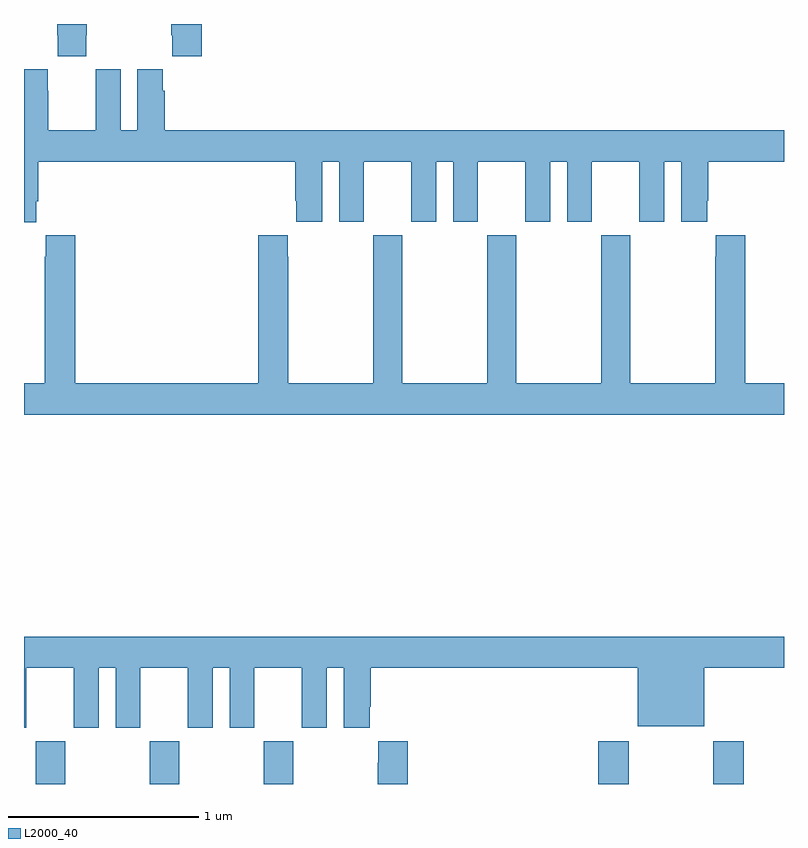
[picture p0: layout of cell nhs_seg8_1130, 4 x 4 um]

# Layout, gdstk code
import gdstk
lib = gdstk.Library(unit=1e-6, precision=1e-09)
def R(c, l, rs):  # rectangles x0, y0, x1, y1
    for r in rs: c.add(gdstk.rectangle(r[:2], r[2:], *l))
def A(c, l, x, y, w, h, nx, ny, dx, dy):  # array of equal rectangles
    R(c, l, [(x+i*dx, y+j*dy, x+i*dx+w, y+j*dy+h) for i in range(nx) for j in range(ny)])
def P(c, l, *ps):  # polygons
    for p in ps: c.add(gdstk.Polygon(p, *l))
L2000_40 = (2000, 40)

nhs_seg8_1130 = lib.new_cell('nhs_seg8_1130')
A(nhs_seg8_1130, L2000_40, 183.061, 1103.9, 0.155, 0.224, 3, 1, 0.6, 0)
R(nhs_seg8_1130, L2000_40, [(186.023,1103.9,186.183,1104.124), (186.628,1103.9,186.788,1104.124)])
P(nhs_seg8_1130, L2000_40, [(183.935,1107.9),(183.775,1107.9),(183.775,1107.841),(183.781,1107.841),(183.781,1107.729),(183.935,1107.729)],
  [(183.327,1107.841),(183.33,1107.841),(183.33,1107.9),(183.175,1107.9),(183.175,1107.841),(183.177,1107.841),(183.177,1107.729),(183.327,1107.729)],
  [(183.064,1106.968),(183.074,1106.968),(183.074,1107.176),(184.427,1107.176),(184.427,1106.971),(184.433,1106.971),(184.433,1106.859),(184.57,1106.859),(184.57,1107.176),(184.658,1107.176),(184.658,1106.859),(184.789,1106.859),(184.789,1107.176),(185.039,1107.176),(185.039,1106.859),(185.17,1106.859),(185.17,1107.176),(185.258,1107.176),(185.258,1106.859),(185.389,1106.859),(185.389,1107.176),(185.639,1107.176),(185.639,1106.859),(185.77,1106.859),(185.77,1107.176),(185.858,1107.176),(185.858,1106.859),(185.989,1106.859),(185.989,1107.176),(186.239,1107.176),(186.239,1106.859),(186.37,1106.859),(186.37,1107.176),(186.458,1107.176),(186.458,1106.859),(186.595,1106.859),(186.595,1106.971),(186.602,1106.971),(186.602,1107.176),(187,1107.176),(187,1107.34),(183.74,1107.34),(183.74,1107.548),(183.73,1107.548),(183.73,1107.661),(183.596,1107.661),(183.596,1107.34),(183.508,1107.34),(183.508,1107.661),(183.378,1107.661),(183.378,1107.548),(183.377,1107.548),(183.377,1107.34),(183.127,1107.34),(183.127,1107.548),(183.126,1107.548),(183.126,1107.661),(183,1107.661),(183,1106.856),(183.064,1106.856)],
  [(187,1106.008),(186.797,1106.008),(186.797,1106.788),(186.641,1106.788),(186.641,1106.675),(186.637,1106.675),(186.637,1106.008),(186.192,1106.008),(186.192,1106.788),(186.037,1106.788),(186.037,1106.008),(185.592,1106.008),(185.592,1106.788),(185.437,1106.788),(185.437,1106.008),(184.992,1106.008),(184.992,1106.788),(184.837,1106.788),(184.837,1106.008),(184.392,1106.008),(184.392,1106.675),(184.387,1106.675),(184.387,1106.788),(184.232,1106.788),(184.232,1106.008),(183.269,1106.008),(183.269,1106.788),(183.115,1106.788),(183.115,1106.675),(183.109,1106.675),(183.109,1106.008),(183,1106.008),(183,1105.844),(187,1105.844)],
  [(183.013,1104.512),(183.263,1104.512),(183.263,1104.195),(183.394,1104.195),(183.394,1104.512),(183.482,1104.512),(183.482,1104.195),(183.613,1104.195),(183.613,1104.512),(183.863,1104.512),(183.863,1104.195),(183.994,1104.195),(183.994,1104.512),(184.082,1104.512),(184.082,1104.195),(184.213,1104.195),(184.213,1104.512),(184.463,1104.512),(184.463,1104.195),(184.594,1104.195),(184.594,1104.512),(184.682,1104.512),(184.682,1104.195),(184.819,1104.195),(184.819,1104.307),(184.826,1104.307),(184.826,1104.512),(186.23,1104.512),(186.23,1104.203),(186.58,1104.203),(186.58,1104.512),(187,1104.512),(187,1104.676),(183,1104.676),(183,1104.195),(183.013,1104.195)],
  [(185.021,1104.124),(184.865,1104.124),(184.865,1104.011),(184.861,1104.011),(184.861,1103.9),(185.021,1103.9)])

lib.write_gds('nhs_seg8_1130.gds')
